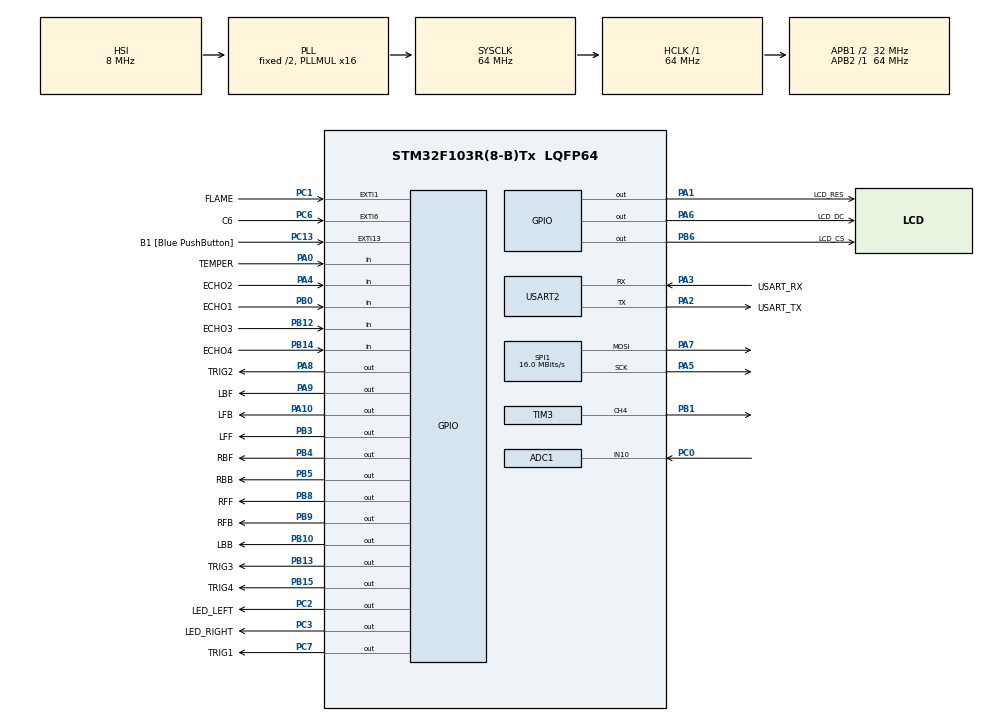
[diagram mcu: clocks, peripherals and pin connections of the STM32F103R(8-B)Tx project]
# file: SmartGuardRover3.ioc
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ADC1.Channel-1\#ChannelRegularConversion=ADC_CHANNEL_10
ADC1.NbrOfConversionFlag=1
ADC1.Rank-1\#ChannelRegularConversion=1
ADC1.SamplingTime-1\#ChannelRegularConversion=ADC_SAMPLETIME_1CYCLE_5
ADC1.master=1
Mcu.Family=STM32F1
Mcu.Name=STM32F103R(8-B)Tx
Mcu.Package=LQFP64
NVIC.EXTI15_10_IRQn=true\:0\:0\:false\:false\:true\:true\:true\:true
NVIC.EXTI9_5_IRQn=true\:0\:0\:false\:false\:true\:true\:true\:true
NVIC.PriorityGroup=NVIC_PRIORITYGROUP_4
NVIC.USART2_IRQn=true\:0\:0\:false\:false\:true\:true\:true\:true
PA0-WKUP.GPIO_Label=TEMPER
PA0-WKUP.Signal=GPIO_Input
PA1.GPIO_Label=LCD_RES
PA1.Signal=GPIO_Output
PA10.GPIO_Label=LFB
PA10.Signal=GPIO_Output
PA13.GPIO_Label=TMS
PA13.Mode=Serial_Wire
PA13.Signal=SYS_JTMS-SWDIO
PA14.GPIO_Label=TCK
PA14.Mode=Serial_Wire
PA14.Signal=SYS_JTCK-SWCLK
PA2.GPIO_Label=USART_TX
PA2.GPIO_Mode=GPIO_MODE_AF_PP
PA2.GPIO_PuPd=GPIO_NOPULL
PA2.GPIO_Speed=GPIO_SPEED_FREQ_LOW
PA2.Mode=Asynchronous
PA2.Signal=USART2_TX
PA3.GPIO_Label=USART_RX
PA3.GPIO_Mode=GPIO_MODE_AF_PP
PA3.GPIO_PuPd=GPIO_NOPULL
PA3.GPIO_Speed=GPIO_SPEED_FREQ_LOW
PA3.Mode=Asynchronous
PA3.Signal=USART2_RX
PA4.GPIO_Label=ECHO2
PA4.Signal=GPIO_Input
PA5.Mode=TX_Only_Simplex_Unidirect_Master
PA5.Signal=SPI1_SCK
PA6.GPIO_Label=LCD_DC
PA6.Signal=GPIO_Output
PA7.Mode=TX_Only_Simplex_Unidirect_Master
PA7.Signal=SPI1_MOSI
PA8.GPIO_Label=TRIG2
PA8.Signal=GPIO_Output
PA9.GPIO_Label=LBF
PA9.Signal=GPIO_Output
PB0.GPIO_Label=ECHO1
PB0.Signal=GPIO_Input
PB1.Signal=S_TIM3_CH4
PB10.GPIO_Label=LBB
PB10.Signal=GPIO_Output
PB12.GPIO_Label=ECHO3
PB12.Signal=GPIO_Input
PB13.GPIO_Label=TRIG3
PB13.Signal=GPIO_Output
PB14.GPIO_Label=ECHO4
PB14.Signal=GPIO_Input
PB15.GPIO_Label=TRIG4
PB15.Signal=GPIO_Output
PB3.GPIO_Label=LFF
PB3.Signal=GPIO_Output
PB4.GPIO_Label=RBF
PB4.Signal=GPIO_Output
PB5.GPIO_Label=RBB
PB5.Signal=GPIO_Output
PB6.GPIO_Label=LCD_CS
PB6.Signal=GPIO_Output
PB8.GPIO_Label=RFF
PB8.Signal=GPIO_Output
PB9.GPIO_Label=RFB
PB9.Signal=GPIO_Output
PC0.Signal=ADCx_IN10
PC1.GPIO_Label=FLAME
PC1.GPIO_ModeDefaultEXTI=GPIO_MODE_IT_FALLING
PC1.GPIO_PuPd=GPIO_PULLUP
PC1.Signal=GPXTI1
PC13-TAMPER-RTC.GPIO_Label=B1 [Blue PushButton]
PC13-TAMPER-RTC.GPIO_PuPd=GPIO_NOPULL
PC13-TAMPER-RTC.Signal=GPXTI13
PC14-OSC32_IN.Signal=RCC_OSC32_IN
PC15-OSC32_OUT.Signal=RCC_OSC32_OUT
PC2.GPIO_Label=LED_LEFT
PC2.Signal=GPIO_Output
PC3.GPIO_Label=LED_RIGHT
PC3.Signal=GPIO_Output
PC6.GPIO_Label=C6
PC6.GPIO_PuPd=GPIO_PULLDOWN
PC6.Signal=GPXTI6
PC7.GPIO_Label=TRIG1
PC7.Signal=GPIO_Output
PD0-OSC_IN.Signal=RCC_OSC_IN
PD1-OSC_OUT.Signal=RCC_OSC_OUT
ProjectManager.HeapSize=0x200
ProjectManager.StackSize=0x400
ProjectManager.TargetToolchain=STM32CubeIDE
RCC.ADCPresc=RCC_ADCPCLK2_DIV6
RCC.AHBFreq_Value=64000000
RCC.APB1CLKDivider=RCC_HCLK_DIV2
RCC.APB1Freq_Value=32000000
RCC.APB1TimFreq_Value=64000000
RCC.APB2Freq_Value=64000000
RCC.APB2TimFreq_Value=64000000
RCC.HCLKFreq_Value=64000000
RCC.PLLMUL=RCC_PLL_MUL16
RCC.RTCClockSelection=RCC_RTCCLKSOURCE_LSE
RCC.SYSCLKFreq_VALUE=64000000
RCC.SYSCLKSource=RCC_SYSCLKSOURCE_PLLCLK
RCC.USBFreq_Value=64000000
SH.ADCx_IN10.0=ADC1_IN10,IN10
SH.S_TIM3_CH4.0=TIM3_CH4,PWM Generation4 CH4
SPI1.BaudRatePrescaler=SPI_BAUDRATEPRESCALER_4
SPI1.CalculateBaudRate=16.0 MBits/s
SPI1.Direction=SPI_DIRECTION_2LINES
SPI1.Mode=SPI_MODE_MASTER
SPI1.VirtualType=VM_MASTER
TIM1.Prescaler=63
TIM2.AutoReloadPreload=TIM_AUTORELOAD_PRELOAD_ENABLE
TIM2.Prescaler=63
TIM3.Channel-PWM\ Generation4\ CH4=TIM_CHANNEL_4
TIM3.Period=999
TIM3.Prescaler=63
TIM3.Pulse-PWM\ Generation4\ CH4=500
USART2.VirtualMode=VM_ASYNC
VP_TIM1_VS_ClockSourceINT.Mode=Internal
VP_TIM2_VS_ClockSourceINT.Mode=Internal
VP_TIM3_VS_ClockSourceINT.Mode=Internal
board=NUCLEO-F103RB

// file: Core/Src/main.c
/* USER CODE BEGIN Header */
/**
  ******************************************************************************
  * @file           : main.c
  * @brief          : Smart Car + LCD + DHT11 (Safe for Code Gen)
  ******************************************************************************
  */
/* USER CODE END Header */
#include "main.h"

/* USER CODE BEGIN Includes */
#include <stdio.h>
#include <stdlib.h>
#include <string.h>
/* USER CODE END Includes */

/* USER CODE BEGIN PTD */
// [온습도 구조체]
typedef struct {
    uint8_t temperature;
    uint8_t humidity;
    uint8_t temp_decimal;
    uint8_t hum_decimal;
    uint8_t checksum;
} DHT11_Data;

// [LCD 매크로]
#define LCD_WIDTH  160
#define LCD_HEIGHT 80
#define X_OFFSET   0
#define Y_OFFSET   26

// Colors (RGB565)
#define BLACK       0x0000
#define WHITE       0xFFFF
#define RED         0xF800
#define GREEN       0x07E0
#define BLUE        0x001F
#define YELLOW      0xFFE0
#define EYE_COLOR   0x07E0
#define EYE_BRIGHT  0xAFE5
#define EYE_DIM     0x0320

// 눈 위치
#define LX          40
#define RX          120
#define CY          40
#define EYE_W       30
#define EYE_H       50
#define EYE_R       10

// ST7735 Commands
#define ST7735_SWRESET 0x01
#define ST7735_SLPOUT  0x11
#define ST7735_NORON   0x13
#define ST7735_INVOFF  0x20
#define ST7735_DISPON  0x29
#define ST7735_CASET   0x2A
#define ST7735_RASET   0x2B
#define ST7735_RAMWR   0x2C
#define ST7735_COLMOD  0x3A
#define ST7735_MADCTL  0x36

typedef enum {
    EXPR_NORMAL, EXPR_HAPPY, EXPR_SAD, EXPR_ANGRY,
    EXPR_SURPRISED, EXPR_SLEEPY, EXPR_Love
} Expression_t;

// GPIO 제어 매크로
#define LCD_CS_LOW()   HAL_GPIO_WritePin(GPIOB, GPIO_PIN_6, GPIO_PIN_RESET)
#define LCD_CS_HIGH()  HAL_GPIO_WritePin(GPIOB, GPIO_PIN_6, GPIO_PIN_SET)
#define LCD_DC_LOW()   HAL_GPIO_WritePin(GPIOA, GPIO_PIN_6, GPIO_PIN_RESET)
#define LCD_DC_HIGH()  HAL_GPIO_WritePin(GPIOA, GPIO_PIN_6, GPIO_PIN_SET)
#define LCD_RES_LOW()  HAL_GPIO_WritePin(GPIOA, GPIO_PIN_1, GPIO_PIN_RESET)
#define LCD_RES_HIGH() HAL_GPIO_WritePin(GPIOA, GPIO_PIN_1, GPIO_PIN_SET)
/* USER CODE END PTD */

/* USER CODE BEGIN PD */
#define DHT11_PORT GPIOA
#define DHT11_PIN GPIO_PIN_0
#define HIGH 1
#define LOW 0
#define AUTO_STOP_DELAY 200
/* USER CODE END PD */

ADC_HandleTypeDef hadc1;

SPI_HandleTypeDef hspi1;

TIM_HandleTypeDef htim1;
TIM_HandleTypeDef htim2;
TIM_HandleTypeDef htim3;

UART_HandleTypeDef huart2;

/* USER CODE BEGIN PV */
DHT11_Data dht11_data;
char uart_buffer[100];

uint8_t rx_data;
long unsigned int echo_time1, echo_time2, echo_time3, echo_time4;
int dist1, dist2, dist3, dist4;
volatile uint32_t last_cmd_time = 0;

volatile uint8_t is_avoiding = 0;
volatile uint8_t is_emergency = 0;
volatile uint8_t is_fire = 0;
volatile uint8_t current_plan = 0;

Expression_t current_expr = EXPR_NORMAL;
uint16_t current_bg_color = BLUE;
/* USER CODE END PV */

void SystemClock_Config(void);
static void MX_GPIO_Init(void);
static void MX_USART2_UART_Init(void);
static void MX_TIM2_Init(void);
static void MX_ADC1_Init(void);
static void MX_TIM3_Init(void);
static void MX_SPI1_Init(void);
static void MX_TIM1_Init(void);
/* USER CODE BEGIN PFP */
// [DHT11 Functions]
void DHT11_SetPinOutput(void);
void DHT11_SetPinInput(void);
void DHT11_SetPin(GPIO_PinState state);
GPIO_PinState DHT11_ReadPin(void);
void DHT11_DelayUs(uint32_t us);
uint8_t DHT11_Start(void);
uint8_t DHT11_ReadByte(void);
uint8_t DHT11_ReadData(DHT11_Data *data);

// [Smart Car Functions]
void Avoid_Obstacle_Routine(void);
void trig1(void); long unsigned int echo1(void);
void trig2(void); long unsigned int echo2(void);
void trig3(void); long unsigned int echo3(void);
void trig4(void); long unsigned int echo4(void);
void delay_us(uint16_t us);
int LFRB(); int RFLB(); void ST(); void MB();
void Check_Light(void);
void Check_Tilt_State(void);
void Check_Fire_State(void);

// [LCD Functions]
void LCD_Init(void);
void LCD_Clear(uint16_t color);
void Draw_Expression(Expression_t expr, uint16_t bg_color);
void Update_Face_Logic(void);
/* USER CODE END PFP */

/* USER CODE BEGIN 0 */
#ifdef __GNUC__
#define PUTCHAR_PROTOTYPE int __io_putchar(int ch)
#else
#define PUTCHAR_PROTOTYPE int fputc(int ch, FILE *f)
#endif

PUTCHAR_PROTOTYPE {
    HAL_UART_Transmit(&huart2, (uint8_t*)&ch, 1, 10);
    return ch;
}
// ============================================================================
// [DHT11 온습도 센서 함수 구현]
// ============================================================================
void DHT11_SetPinOutput(void) {
    GPIO_InitTypeDef GPIO_InitStruct = {0};
    GPIO_InitStruct.Pin = DHT11_PIN;
    GPIO_InitStruct.Mode = GPIO_MODE_OUTPUT_PP;
    GPIO_InitStruct.Pull = GPIO_NOPULL;
    GPIO_InitStruct.Speed = GPIO_SPEED_FREQ_HIGH;
    HAL_GPIO_Init(DHT11_PORT, &GPIO_InitStruct);
}

void DHT11_SetPinInput(void) {
    GPIO_InitTypeDef GPIO_InitStruct = {0};
    GPIO_InitStruct.Pin = DHT11_PIN;
    GPIO_InitStruct.Mode = GPIO_MODE_INPUT;
    GPIO_InitStruct.Pull = GPIO_PULLUP;
    HAL_GPIO_Init(DHT11_PORT, &GPIO_InitStruct);
}

void DHT11_SetPin(GPIO_PinState state) {
    HAL_GPIO_WritePin(DHT11_PORT, DHT11_PIN, state);
}

GPIO_PinState DHT11_ReadPin(void) {
    return HAL_GPIO_ReadPin(DHT11_PORT, DHT11_PIN);
}

void DHT11_DelayUs(uint32_t us) {
    __HAL_TIM_SET_COUNTER(&htim1, 0);
    while (__HAL_TIM_GET_COUNTER(&htim1) < us);
}

uint8_t DHT11_Start(void) {
    uint8_t response = 0;
    DHT11_SetPinOutput();
    DHT11_SetPin(GPIO_PIN_RESET); HAL_Delay(20);
    DHT11_SetPin(GPIO_PIN_SET); DHT11_DelayUs(30);
    DHT11_SetPinInput();
    DHT11_DelayUs(40);
    if (!(DHT11_ReadPin())) {
        DHT11_DelayUs(80);
        if (DHT11_ReadPin()) response = 1; else response = 0;
    }
    while (DHT11_ReadPin());
    return response;
}

uint8_t DHT11_ReadByte(void) {
    uint8_t byte = 0;
    for (int i = 0; i < 8; i++) {
        while (!(DHT11_ReadPin()));
        DHT11_DelayUs(30);
        if (DHT11_ReadPin()) { byte |= (1 << (7 - i)); while (DHT11_ReadPin()); }
    }
    return byte;
}

uint8_t DHT11_ReadData(DHT11_Data *data) {
    if (!DHT11_Start()) return 0;
    data->humidity = DHT11_ReadByte();
    data->hum_decimal = DHT11_ReadByte();
    data->temperature = DHT11_ReadByte();
    data->temp_decimal = DHT11_ReadByte();
    data->checksum = DHT11_ReadByte();
    if ((data->humidity + data->hum_decimal + data->temperature + data->temp_decimal) == data->checksum) return 1;
    return 0;
}

// ============================================================================
// [LCD 그래픽 함수 구현]
// ============================================================================
static void LCD_Cmd(uint8_t cmd) {
    LCD_DC_LOW(); LCD_CS_LOW(); HAL_SPI_Transmit(&hspi1, &cmd, 1, 10); LCD_CS_HIGH();
}
static void LCD_Data(uint8_t data) {
    LCD_DC_HIGH(); LCD_CS_LOW(); HAL_SPI_Transmit(&hspi1, &data, 1, 10); LCD_CS_HIGH();
}
static void LCD_SetWindow(uint16_t x0, uint16_t y0, uint16_t x1, uint16_t y1) {
    LCD_Cmd(ST7735_CASET); LCD_Data(0); LCD_Data(x0 + X_OFFSET); LCD_Data(0); LCD_Data(x1 + X_OFFSET);
    LCD_Cmd(ST7735_RASET); LCD_Data(0); LCD_Data(y0 + Y_OFFSET); LCD_Data(0); LCD_Data(y1 + Y_OFFSET);
    LCD_Cmd(ST7735_RAMWR);
}
static void LCD_WriteColorFast(uint16_t color, uint32_t count) {
    uint8_t hi = color >> 8; uint8_t lo = color & 0xFF;
    LCD_DC_HIGH(); LCD_CS_LOW();
    while(count--) { HAL_SPI_Transmit(&hspi1, &hi, 1, 10); HAL_SPI_Transmit(&hspi1, &lo, 1, 10); }
    LCD_CS_HIGH();
}
static void LCD_FillRect(int16_t x, int16_t y, int16_t w, int16_t h, uint16_t color) {
    if(x >= LCD_WIDTH || y >= LCD_HEIGHT || w <= 0 || h <= 0) return;
    if(x + w > LCD_WIDTH) w = LCD_WIDTH - x;
    if(y + h > LCD_HEIGHT) h = LCD_HEIGHT - y;
    LCD_SetWindow(x, y, x + w - 1, y + h - 1);
    LCD_WriteColorFast(color, (uint32_t)w * h);
}
void LCD_Clear(uint16_t color) { LCD_FillRect(0, 0, LCD_WIDTH, LCD_HEIGHT, color); }

static void LCD_HLine(int16_t x, int16_t y, int16_t w, uint16_t color) { LCD_FillRect(x, y, w, 1, color); }
static void LCD_FillCircle(int16_t x0, int16_t y0, int16_t r, uint16_t color) {
    int16_t x = r, y = 0, err = 1 - r;
    while(x >= y) {
        LCD_HLine(x0 - x, y0 + y, x * 2 + 1, color); LCD_HLine(x0 - x, y0 - y, x * 2 + 1, color);
        LCD_HLine(x0 - y, y0 + x, y * 2 + 1, color); LCD_HLine(x0 - y, y0 - x, y * 2 + 1, color);
        y++; if(err < 0) err += 2 * y + 1; else { x--; err += 2 * (y - x + 1); }
    }
}
static void LCD_RoundRect(int16_t x, int16_t y, int16_t w, int16_t h, int16_t r, uint16_t color) {
    LCD_FillRect(x+r, y, w-2*r, h, color); LCD_FillRect(x, y+r, r, h-2*r, color);
    LCD_FillRect(x+w-r, y+r, r, h-2*r, color);
    LCD_FillCircle(x+r, y+r, r, color); LCD_FillCircle(x+w-r-1, y+r, r, color);
    LCD_FillCircle(x+r, y+h-r-1, r, color); LCD_FillCircle(x+w-r-1, y+h-r-1, r, color);
}
static void LCD_ThickLine(int16_t x0, int16_t y0, int16_t x1, int16_t y1, int16_t t, uint16_t color) {
    int16_t dx = abs(x1-x0), dy = abs(y1-y0), sx = (x0<x1)?1:-1, sy = (y0<y1)?1:-1, err = dx-dy;
    while(1) {
        LCD_FillRect(x0-t/2, y0-t/2, t, t, color);
        if(x0==x1 && y0==y1) break;
        int16_t e2=2*err; if(e2 > -dy){err-=dy; x0+=sx;} if(e2 < dx){err+=dx; y0+=sy;}
    }
}

// [눈 그리기]
static void Eye_Normal(int16_t cx, int16_t ox, int16_t oy) {
    LCD_RoundRect(cx - EYE_W/2, CY - EYE_H/2, EYE_W, EYE_H, EYE_R, EYE_COLOR);
    LCD_FillCircle(cx - 5 + ox, CY - 8 + oy, 4, EYE_BRIGHT);
}
static void Eye_Happy(int16_t cx) {
    for(int16_t i = -EYE_W/2 + 2; i <= EYE_W/2 - 2; i++) {
        int32_t n = (int32_t)i * i * 100 / ((EYE_W/2) * (EYE_W/2));
        int16_t y = CY + 5 - (12 * (100 - n) / 100);
        LCD_FillRect(cx + i, y - 3, 2, 5, EYE_COLOR);
    }
}
// 악마 눈 (수정본)
static void Eye_Angry(int16_t cx, uint8_t is_left) {
    LCD_RoundRect(cx - EYE_W/2, CY - EYE_H/2 + 10, EYE_W, EYE_H - 14, EYE_R - 3, EYE_COLOR);
    int16_t horn_base_inx = 5; int16_t horn_base_iny = 8;
    int16_t horn_tip_outx = 12; int16_t horn_tip_outy = 12;
    uint16_t horn_color = BLACK;

    if(is_left) {
        LCD_ThickLine(cx - EYE_W/2 + horn_base_inx, CY - EYE_H/2 + horn_base_iny, cx - EYE_W/2 - horn_tip_outx, CY - EYE_H/2 - horn_tip_outy, 6, horn_color);
        LCD_ThickLine(cx - EYE_W/2 - horn_tip_outx + 3, CY - EYE_H/2 - horn_tip_outy + 3, cx - EYE_W/2 - horn_tip_outx, CY - EYE_H/2 - horn_tip_outy, 2, horn_color);
        LCD_FillCircle(cx + 4, CY + 3, 4, BLACK);
    } else {
        LCD_ThickLine(cx + EYE_W/2 - horn_base_inx, CY - EYE_H/2 + horn_base_iny, cx + EYE_W/2 + horn_tip_outx, CY - EYE_H/2 - horn_tip_outy, 6, horn_color);
        LCD_ThickLine(cx + EYE_W/2 + horn_tip_outx - 3, CY - EYE_H/2 - horn_tip_outy + 3, cx + EYE_W/2 + horn_tip_outx, CY - EYE_H/2 - horn_tip_outy, 2, horn_color);
        LCD_FillCircle(cx - 4, CY + 3, 4, BLACK);
    }
    if(is_left) LCD_ThickLine(cx - EYE_W/2 - 2, CY - EYE_H/2 + 12, cx + EYE_W/2 + 2, CY - EYE_H/2 + 2, 4, EYE_COLOR);
    else LCD_ThickLine(cx - EYE_W/2 - 2, CY - EYE_H/2 + 2, cx + EYE_W/2 + 2, CY - EYE_H/2 + 12, 4, EYE_COLOR);
}

void Draw_Expression(Expression_t expr, uint16_t bg_color) {
    LCD_Clear(bg_color);
    switch(expr) {
        case EXPR_NORMAL: Eye_Normal(LX,0,0); Eye_Normal(RX,0,0); break;
        case EXPR_HAPPY:  Eye_Happy(LX); Eye_Happy(RX); break;
        case EXPR_ANGRY:  Eye_Angry(LX,1); Eye_Angry(RX,0); break;
        default: Eye_Normal(LX,0,0); Eye_Normal(RX,0,0); break;
    }
}

void LCD_Init(void) {
    LCD_RES_LOW(); HAL_Delay(50); LCD_RES_HIGH(); HAL_Delay(50);
    LCD_Cmd(ST7735_SWRESET); HAL_Delay(150);
    LCD_Cmd(ST7735_SLPOUT); HAL_Delay(150);
    LCD_Cmd(0xB1); LCD_Data(0x01); LCD_Data(0x2C); LCD_Data(0x2D);
    LCD_Cmd(0xB4); LCD_Data(0x07);
    LCD_Cmd(0xC0); LCD_Data(0xA2); LCD_Data(0x02); LCD_Data(0x84);
    LCD_Cmd(ST7735_MADCTL); LCD_Data(0x60);
    LCD_Cmd(ST7735_COLMOD); LCD_Data(0x05);
    LCD_Cmd(ST7735_NORON); HAL_Delay(10);
    LCD_Cmd(ST7735_DISPON); HAL_Delay(100);
}

void Update_Face_Logic(void) {
    Expression_t target_expr = EXPR_HAPPY;
    uint16_t target_bg = BLUE;

    if (is_emergency == 1 || is_fire == 1) {
        target_expr = EXPR_ANGRY;
        target_bg = RED;
    } else {
        target_expr = EXPR_HAPPY;
        target_bg = BLUE;
    }

    if (target_expr != current_expr || target_bg != current_bg_color) {
        current_expr = target_expr;
        current_bg_color = target_bg;
        Draw_Expression(current_expr, current_bg_color);
    }
}

// ============================================================================
// [스마트카 모터 및 센서 로직]
// ============================================================================
int LF(int dir){ switch(dir){ case 1: HAL_GPIO_WritePin(LFF_GPIO_Port, LFF_Pin, 1); HAL_GPIO_WritePin(LFB_GPIO_Port, LFB_Pin, 0); break; case 0: HAL_GPIO_WritePin(LFF_GPIO_Port, LFF_Pin, 0); HAL_GPIO_WritePin(LFB_GPIO_Port, LFB_Pin, 1); break; case 2: HAL_GPIO_WritePin(LFF_GPIO_Port, LFF_Pin, 0); HAL_GPIO_WritePin(LFB_GPIO_Port, LFB_Pin, 0); break; } return 0; }
int LB(int dir){ switch(dir){ case 1: HAL_GPIO_WritePin(LBF_GPIO_Port, LBF_Pin, 1); HAL_GPIO_WritePin(LBB_GPIO_Port, LBB_Pin, 0); break; case 0: HAL_GPIO_WritePin(LBF_GPIO_Port, LBF_Pin, 0); HAL_GPIO_WritePin(LBB_GPIO_Port, LBB_Pin, 1); break; case 2: HAL_GPIO_WritePin(LBF_GPIO_Port, LBF_Pin, 0); HAL_GPIO_WritePin(LBB_GPIO_Port, LBB_Pin, 0); break; } return 0; }
int RF(int dir){ switch(dir){ case 1: HAL_GPIO_WritePin(RFF_GPIO_Port, RFF_Pin, 1); HAL_GPIO_WritePin(RFB_GPIO_Port, RFB_Pin, 0); break; case 0: HAL_GPIO_WritePin(RFF_GPIO_Port, RFF_Pin, 0); HAL_GPIO_WritePin(RFB_GPIO_Port, RFB_Pin, 1); break; case 2: HAL_GPIO_WritePin(RFF_GPIO_Port, RFF_Pin, 0); HAL_GPIO_WritePin(RFB_GPIO_Port, RFB_Pin, 0); break; } return 0; }
int RB(int dir){ switch(dir){ case 1: HAL_GPIO_WritePin(RBF_GPIO_Port, RBF_Pin, 1); HAL_GPIO_WritePin(RBB_GPIO_Port, RBB_Pin, 0); break; case 0: HAL_GPIO_WritePin(RBF_GPIO_Port, RBF_Pin, 0); HAL_GPIO_WritePin(RBB_GPIO_Port, RBB_Pin, 1); break; case 2: HAL_GPIO_WritePin(RBF_GPIO_Port, RBF_Pin, 0); HAL_GPIO_WritePin(RBB_GPIO_Port, RBB_Pin, 0); break; } return 0; }
void MF() { HAL_GPIO_WritePin(LFF_GPIO_Port, LFF_Pin, 1); HAL_GPIO_WritePin(LFB_GPIO_Port, LFB_Pin, 0); HAL_GPIO_WritePin(RFF_GPIO_Port, RFF_Pin, 1); HAL_GPIO_WritePin(RFB_GPIO_Port, RFB_Pin, 0); HAL_GPIO_WritePin(LBF_GPIO_Port, LBF_Pin, 1); HAL_GPIO_WritePin(LBB_GPIO_Port, LBB_Pin, 0); HAL_GPIO_WritePin(RBF_GPIO_Port, RBF_Pin, 1); HAL_GPIO_WritePin(RBB_GPIO_Port, RBB_Pin, 0); }
void MB() { HAL_GPIO_WritePin(LFF_GPIO_Port, LFF_Pin, 0); HAL_GPIO_WritePin(LFB_GPIO_Port, LFB_Pin, 1); HAL_GPIO_WritePin(RFF_GPIO_Port, RFF_Pin, 0); HAL_GPIO_WritePin(RFB_GPIO_Port, RFB_Pin, 1); HAL_GPIO_WritePin(LBF_GPIO_Port, LBF_Pin, 0); HAL_GPIO_WritePin(LBB_GPIO_Port, LBB_Pin, 1); HAL_GPIO_WritePin(RBF_GPIO_Port, RBF_Pin, 0); HAL_GPIO_WritePin(RBB_GPIO_Port, RBB_Pin, 1); }
void ML() { HAL_GPIO_WritePin(LFF_GPIO_Port, LFF_Pin, 0); HAL_GPIO_WritePin(LFB_GPIO_Port, LFB_Pin, 0); HAL_GPIO_WritePin(RFF_GPIO_Port, RFF_Pin, 1); HAL_GPIO_WritePin(RFB_GPIO_Port, RFB_Pin, 0); HAL_GPIO_WritePin(LBF_GPIO_Port, LBF_Pin, 0); HAL_GPIO_WritePin(LBB_GPIO_Port, LBB_Pin, 0); HAL_GPIO_WritePin(RBF_GPIO_Port, RBF_Pin, 1); HAL_GPIO_WritePin(RBB_GPIO_Port, RBB_Pin, 0); }
void MR() { HAL_GPIO_WritePin(LFF_GPIO_Port, LFF_Pin, 1); HAL_GPIO_WritePin(LFB_GPIO_Port, LFB_Pin, 0); HAL_GPIO_WritePin(RFF_GPIO_Port, RFF_Pin, 0); HAL_GPIO_WritePin(RFB_GPIO_Port, RFB_Pin, 0); HAL_GPIO_WritePin(LBF_GPIO_Port, LBF_Pin, 1); HAL_GPIO_WritePin(LBB_GPIO_Port, LBB_Pin, 0); HAL_GPIO_WritePin(RBF_GPIO_Port, RBF_Pin, 0); HAL_GPIO_WritePin(RBB_GPIO_Port, RBB_Pin, 0); }
void ST() { HAL_GPIO_WritePin(LFF_GPIO_Port, LFF_Pin, 0); HAL_GPIO_WritePin(LFB_GPIO_Port, LFB_Pin, 0); HAL_GPIO_WritePin(RFF_GPIO_Port, RFF_Pin, 0); HAL_GPIO_WritePin(RFB_GPIO_Port, RFB_Pin, 0); HAL_GPIO_WritePin(LBF_GPIO_Port, LBF_Pin, 0); HAL_GPIO_WritePin(LBB_GPIO_Port, LBB_Pin, 0); HAL_GPIO_WritePin(RBF_GPIO_Port, RBF_Pin, 0); HAL_GPIO_WritePin(RBB_GPIO_Port, RBB_Pin, 0); }
int TLF(){ RF(1); RB(1); LF(2); LB(2); return 0; } int TRF(){ RF(2); RB(2); LF(1); LB(1); return 0; }
int TLB(){ RF(0); RB(0); LF(2); LB(2); return 0; } int TRB(){ RF(2); RB(2); LF(0); LB(0); return 0; }
int LFRB(){ RF(0); RB(0); LF(1); LB(1); return 0; } int RFLB(){ RF(1); RB(1); LF(0); LB(0); return 0; }

void HAL_UART_RxCpltCallback(UART_HandleTypeDef *huart) {
    if (huart->Instance == USART2) {
        HAL_UART_Transmit(&huart2, &rx_data, 1, 10);
        if (is_avoiding == 0 && is_emergency == 0 && is_fire == 0) {
            last_cmd_time = HAL_GetTick();
            switch (rx_data) {
                case 'W': case 'w': MF(); break; case 'A': case 'a': ML(); break;
                case 'D': case 'd': MR(); break; case 'S': case 's': MB(); break;
                case 'Q': case 'q': TLF(); break; case 'E': case 'e': TRF(); break;
                case 'Z': case 'z': TLB(); break; case 'C': case 'c': TRB(); break;
                case 'R': case 'r': LFRB(); break; case 'T': case 't': RFLB(); break;
                default: ST(); break;
            }
        }
        HAL_UART_Receive_IT(&huart2, &rx_data, 1);
    }
}

void Check_Tilt_State(void) {
    static uint32_t tilt_start_time = 0;
    if (HAL_GPIO_ReadPin(C6_GPIO_Port, C6_Pin) == GPIO_PIN_SET) {
        if (tilt_start_time == 0) tilt_start_time = HAL_GetTick();
        if (HAL_GetTick() - tilt_start_time > 2000) {
            ST(); is_emergency = 1;
            HAL_GPIO_WritePin(LED_LEFT_GPIO_Port, LED_LEFT_Pin, 1);
            HAL_GPIO_WritePin(LED_RIGHT_GPIO_Port, LED_RIGHT_Pin, 1);
            __HAL_TIM_SET_COMPARE(&htim3, TIM_CHANNEL_4, 500);
            printf("⚠️Car Fliped!!\r\n");
            tilt_start_time = 0;
        }
    } else { tilt_start_time = 0; }
}

void Check_Fire_State(void) {
    if (HAL_GPIO_ReadPin(FLAME_GPIO_Port, FLAME_Pin) == GPIO_PIN_SET) {
        if (is_fire == 0) {
            ST(); is_fire = 1;
            __HAL_TIM_SET_COMPARE(&htim3, TIM_CHANNEL_4, 500);
            HAL_GPIO_WritePin(LED_LEFT_GPIO_Port, LED_LEFT_Pin, 1);
            HAL_GPIO_WritePin(LED_RIGHT_GPIO_Port, LED_RIGHT_Pin, 1);
            printf("🔥 FIRE!\r\n");
        }
    }
}

void Avoid_Obstacle_Routine(void)
{
    is_avoiding = 1;
    ST();
    HAL_Delay(500);

    uint32_t last_avoid_light_check = 0;

    // 측면 거리 측정
    trig3(); echo_time3 = echo3(); dist3 = (echo_time3 > 0 && echo_time3 < 23000) ? (int)(17 * echo_time3 / 100) : 999; delay_us(15000);
    trig4(); echo_time4 = echo4(); dist4 = (echo_time4 > 0 && echo_time4 < 23000) ? (int)(17 * echo_time4 / 100) : 999;

    // [상태 설정] 0:정상, 1:우회전, 2:좌회전, 3:후진좌회전, 4:후진
    if (dist3 <= 150 && dist4 > 150) current_plan = 1;      // 왼쪽 막힘
    else if (dist4 <= 150 && dist3 > 150) current_plan = 2; // 오른쪽 막힘
    else if (dist3 > 150 && dist4 > 150) current_plan = 3;  // 전방만 막힘
    else current_plan = 4;                                  // 꽉 막힘 (Plan 4)

    printf("⚠️ Avoid:%d D3:%d D4:%d\r\n", current_plan,dist3,dist4);

    while (1)
    {
        Check_Tilt_State(); Check_Fire_State(); Update_Face_Logic();

        if (is_emergency == 1 || is_fire == 1) {
            ST();
            is_avoiding = 0;
            current_plan = 0; // 비상 정지도 Plan 0(혹은 별도 처리)으로 복귀
            break;
        }

        if (HAL_GetTick() - last_avoid_light_check > 500) { Check_Light(); last_avoid_light_check = HAL_GetTick(); }

        trig1(); echo_time1 = echo1(); dist1 = (echo_time1 > 0 && echo_time1 < 23000) ? (int)(17 * echo_time1 / 100) : 999; delay_us(2000);
        trig2(); echo_time2 = echo2(); dist2 = (echo_time2 > 0 && echo_time2 < 23000) ? (int)(17 * echo_time2 / 100) : 999;

        // [탈출 조건]
        if (dist1 > 350 && dist2 > 350) {
            ST();
            is_avoiding = 0;
            last_cmd_time = HAL_GetTick();
            dist3 = 0;
            dist4 = 0;

            // ★ 정상 상태(0)로 복귀 ★
            current_plan = 0;
            printf("Avoid Recovery\r\n");
            break;
        }

        // 전역 변수 current_plan에 따라 동작
        switch (current_plan) {
            case 1: LFRB(); break;
            case 2: RFLB(); break;
            case 3: MB(); HAL_Delay(500); current_plan = 2; break; // 3번 후엔 2번으로
            case 4: MB(); break; // 4번은 계속 후진
        }
        HAL_Delay(100);
    }
}

void timer_start(void) { HAL_TIM_Base_Start(&htim2); }
void delay_us(uint16_t us) { __HAL_TIM_SET_COUNTER(&htim2, 0); while((__HAL_TIM_GET_COUNTER(&htim2)) < us); }
void trig1(void) { HAL_GPIO_WritePin(TRIG1_GPIO_Port, TRIG1_Pin, HIGH); delay_us(10); HAL_GPIO_WritePin(TRIG1_GPIO_Port, TRIG1_Pin, LOW); }
long unsigned int echo1(void) { long unsigned int echo = 0; int timeout = 0; while(HAL_GPIO_ReadPin(ECHO1_GPIO_Port, ECHO1_Pin) == LOW) { timeout++; if(timeout > 5000) return 0; } __HAL_TIM_SET_COUNTER(&htim2, 0); timeout = 0; while(HAL_GPIO_ReadPin(ECHO1_GPIO_Port, ECHO1_Pin) == HIGH) { timeout++; if(timeout > 20000) return 0; } echo = __HAL_TIM_GET_COUNTER(&htim2); return echo; }
void trig2(void) { HAL_GPIO_WritePin(TRIG2_GPIO_Port, TRIG2_Pin, HIGH); delay_us(10); HAL_GPIO_WritePin(TRIG2_GPIO_Port, TRIG2_Pin, LOW); }
long unsigned int echo2(void) { long unsigned int echo = 0; int timeout = 0; while(HAL_GPIO_ReadPin(ECHO2_GPIO_Port, ECHO2_Pin) == LOW) { timeout++; if(timeout > 5000) return 0; } __HAL_TIM_SET_COUNTER(&htim2, 0); timeout = 0; while(HAL_GPIO_ReadPin(ECHO2_GPIO_Port, ECHO2_Pin) == HIGH) { timeout++; if(timeout > 20000) return 0; } echo = __HAL_TIM_GET_COUNTER(&htim2); return echo; }
void trig3(void) { HAL_GPIO_WritePin(TRIG3_GPIO_Port, TRIG3_Pin, HIGH); delay_us(10); HAL_GPIO_WritePin(TRIG3_GPIO_Port, TRIG3_Pin, LOW); }
long unsigned int echo3(void) { long unsigned int echo = 0; int timeout = 0; while(HAL_GPIO_ReadPin(ECHO3_GPIO_Port, ECHO3_Pin) == LOW) { timeout++; if(timeout > 5000) return 0; } __HAL_TIM_SET_COUNTER(&htim2, 0); timeout = 0; while(HAL_GPIO_ReadPin(ECHO3_GPIO_Port, ECHO3_Pin) == HIGH) { timeout++; if(timeout > 40000) return 0; } echo = __HAL_TIM_GET_COUNTER(&htim2); return echo; }
void trig4(void) { HAL_GPIO_WritePin(TRIG4_GPIO_Port, TRIG4_Pin, HIGH); delay_us(10); HAL_GPIO_WritePin(TRIG4_GPIO_Port, TRIG4_Pin, LOW); }
long unsigned int echo4(void) { long unsigned int echo = 0; int timeout = 0; while(HAL_GPIO_ReadPin(ECHO4_GPIO_Port, ECHO4_Pin) == LOW) { timeout++; if(timeout > 5000) return 0; } __HAL_TIM_SET_COUNTER(&htim2, 0); timeout = 0; while(HAL_GPIO_ReadPin(ECHO4_GPIO_Port, ECHO4_Pin) == HIGH) { timeout++; if(timeout > 40000) return 0; } echo = __HAL_TIM_GET_COUNTER(&htim2); return echo; }

void Check_Light(void)
{
    uint32_t adc_value = 0; float voltage = 0.0f;
    HAL_ADC_Start(&hadc1);
    if (HAL_ADC_PollForConversion(&hadc1, 100) == HAL_OK) {
        adc_value = HAL_ADC_GetValue(&hadc1); voltage = (adc_value * 3.3f) / 4095.0f;
        if (voltage < 2.0f && is_fire == 0) { HAL_GPIO_WritePin(LED_LEFT_GPIO_Port, LED_LEFT_Pin, 1); HAL_GPIO_WritePin(LED_RIGHT_GPIO_Port, LED_RIGHT_Pin, 1); printf("Dark\r\n"); }
        else if (is_fire == 0) { HAL_GPIO_WritePin(LED_LEFT_GPIO_Port, LED_LEFT_Pin, 0); HAL_GPIO_WritePin(LED_RIGHT_GPIO_Port, LED_RIGHT_Pin, 0); printf("Bright\r\n"); }
    }
    HAL_ADC_Stop(&hadc1);
}
void HAL_GPIO_EXTI_Callback(uint16_t GPIO_Pin) { }
/* USER CODE END 0 */

int main(void)
{

  /* MCU Configuration--------------------------------------------------------*/

  /* Reset of all peripherals, Initializes the Flash interface and the Systick. */
  HAL_Init();

  /* Configure the system clock */
  SystemClock_Config();

  /* Initialize all configured peripherals */
  MX_GPIO_Init();
  MX_USART2_UART_Init();
  MX_TIM2_Init();
  MX_ADC1_Init();
  MX_TIM3_Init();
  MX_SPI1_Init();
  MX_TIM1_Init();
  /* USER CODE BEGIN 2 */
  // [초음파용 타이머 시작]
  HAL_TIM_Base_Start(&htim2);

  // [DHT11용 타이머 시작]
  HAL_TIM_Base_Start(&htim1);

  // [LCD 초기화]
  LCD_Init();
  LCD_Clear(BLUE);
  Draw_Expression(EXPR_HAPPY, BLUE);

  // [부저 초기화]
  __HAL_TIM_SET_COMPARE(&htim3, TIM_CHANNEL_4, 0);
  HAL_TIM_PWM_Start(&htim3, TIM_CHANNEL_4);
  HAL_Delay(500);

  is_fire = 0; is_emergency = 0;

  // [UART 수신 인터럽트 시작]
  HAL_UART_Receive_IT(&huart2, &rx_data, 1);
  printf("\n=== SmartGuardRover With Face LCD ===\n");
  last_cmd_time = HAL_GetTick();
  /* USER CODE END 2 */

  /* Infinite loop */
  /* USER CODE BEGIN WHILE */
  uint32_t last_print_time = 0;
  uint32_t last_light_check_time = 0;
  static uint32_t last_dht_time = 0;

  while (1)
  {
      Check_Tilt_State();
      Check_Fire_State();
      Update_Face_Logic();

      // [전복 처리]
      if (is_emergency == 1)
      {
          ST();
          // 복구 확인
          if (HAL_GPIO_ReadPin(C6_GPIO_Port, C6_Pin) == GPIO_PIN_RESET) {
              int clear_cnt = 0;
              for(int i=0; i<20; i++) {
                  HAL_Delay(100);
                  if(HAL_GPIO_ReadPin(C6_GPIO_Port, C6_Pin) == GPIO_PIN_SET) { clear_cnt = 0; break; }
                  clear_cnt++;
              }
              if(clear_cnt >= 20) {
                  is_emergency = 0; is_avoiding = 0;
                  last_cmd_time = HAL_GetTick();
                  __HAL_TIM_SET_COMPARE(&htim3, TIM_CHANNEL_4, 0);
                  HAL_GPIO_WritePin(LED_LEFT_GPIO_Port, LED_LEFT_Pin, 0);
                  HAL_GPIO_WritePin(LED_RIGHT_GPIO_Port, LED_RIGHT_Pin, 0);
                  printf("Car Recovered!\r\n");
                  continue;
              }
          }
          continue;
      }

      // [화재 처리]
      if (is_fire == 1)
      {
          ST();
          // 복구 확인
          if (HAL_GPIO_ReadPin(FLAME_GPIO_Port, FLAME_Pin) == GPIO_PIN_RESET) {
              int clear_cnt = 0;
              for(int i=0; i<20; i++) {
                  HAL_Delay(100);
                  if(HAL_GPIO_ReadPin(FLAME_GPIO_Port, FLAME_Pin) == GPIO_PIN_SET) { clear_cnt = 0; break; }
                  clear_cnt++;
              }
              if(clear_cnt >= 20) {
                  is_fire = 0;
                  __HAL_TIM_SET_COMPARE(&htim3, TIM_CHANNEL_4, 0);
                  HAL_GPIO_WritePin(LED_LEFT_GPIO_Port, LED_LEFT_Pin, 0);
                  HAL_GPIO_WritePin(LED_RIGHT_GPIO_Port, LED_RIGHT_Pin, 0);
                  is_avoiding = 0; last_cmd_time = HAL_GetTick();
                  printf("FIRE OFF!\r\n");
                  continue;
              }
          }
          continue;
      }

      if (HAL_GetTick() - last_light_check_time > 2000) { Check_Light(); last_light_check_time = HAL_GetTick(); }
      if (is_avoiding == 1) continue;
      if (HAL_GetTick() - last_cmd_time > AUTO_STOP_DELAY) ST();

      trig1(); echo_time1 = echo1(); dist1 = (echo_time1 > 0 && echo_time1 < 23000) ? (int)(17 * echo_time1 / 100) : 999; delay_us(5000);
      trig2(); echo_time2 = echo2(); dist2 = (echo_time2 > 0 && echo_time2 < 23000) ? (int)(17 * echo_time2 / 100) : 999;

      if ((dist1 < 150 && dist1 > 0) || (dist2 < 150 && dist2 > 0)) Avoid_Obstacle_Routine();
      if (HAL_GetTick() - last_print_time > 200) { printf("Avoid:%d D: %d, %d\r\n",current_plan, dist1, dist2); last_print_time = HAL_GetTick(); }

      // [온습도 측정 - 2초 간격]
      if(HAL_GetTick() - last_dht_time >= 2000)
      {
          if(DHT11_ReadData(&dht11_data)) {
              printf("Temp: %d°C, Hum: %d%%\r\n", dht11_data.temperature, dht11_data.humidity);
          }
          last_dht_time = HAL_GetTick();
      }

    /* USER CODE END WHILE */

  }
}

void SystemClock_Config(void)
{
  RCC_OscInitTypeDef RCC_OscInitStruct = {0};
  RCC_ClkInitTypeDef RCC_ClkInitStruct = {0};
  RCC_PeriphCLKInitTypeDef PeriphClkInit = {0};

  /** Initializes the RCC Oscillators according to the specified parameters
  * in the RCC_OscInitTypeDef structure.
  */
  RCC_OscInitStruct.OscillatorType = RCC_OSCILLATORTYPE_HSI;
  RCC_OscInitStruct.HSIState = RCC_HSI_ON;
  RCC_OscInitStruct.HSICalibrationValue = RCC_HSICALIBRATION_DEFAULT;
  RCC_OscInitStruct.PLL.PLLState = RCC_PLL_ON;
  RCC_OscInitStruct.PLL.PLLSource = RCC_PLLSOURCE_HSI_DIV2;
  RCC_OscInitStruct.PLL.PLLMUL = RCC_PLL_MUL16;
  if (HAL_RCC_OscConfig(&RCC_OscInitStruct) != HAL_OK)
  {
    Error_Handler();
  }

  /** Initializes the CPU, AHB and APB buses clocks
  */
  RCC_ClkInitStruct.ClockType = RCC_CLOCKTYPE_HCLK|RCC_CLOCKTYPE_SYSCLK
                              |RCC_CLOCKTYPE_PCLK1|RCC_CLOCKTYPE_PCLK2;
  RCC_ClkInitStruct.SYSCLKSource = RCC_SYSCLKSOURCE_PLLCLK;
  RCC_ClkInitStruct.AHBCLKDivider = RCC_SYSCLK_DIV1;
  RCC_ClkInitStruct.APB1CLKDivider = RCC_HCLK_DIV2;
  RCC_ClkInitStruct.APB2CLKDivider = RCC_HCLK_DIV1;

  if (HAL_RCC_ClockConfig(&RCC_ClkInitStruct, FLASH_LATENCY_2) != HAL_OK)
  {
    Error_Handler();
  }
  PeriphClkInit.PeriphClockSelection = RCC_PERIPHCLK_ADC;
  PeriphClkInit.AdcClockSelection = RCC_ADCPCLK2_DIV6;
  if (HAL_RCCEx_PeriphCLKConfig(&PeriphClkInit) != HAL_OK)
  {
    Error_Handler();
  }
}

static void MX_ADC1_Init(void)
{

  ADC_ChannelConfTypeDef sConfig = {0};

  /** Common config
  */
  hadc1.Instance = ADC1;
  hadc1.Init.ScanConvMode = ADC_SCAN_DISABLE;
  hadc1.Init.ContinuousConvMode = DISABLE;
  hadc1.Init.DiscontinuousConvMode = DISABLE;
  hadc1.Init.ExternalTrigConv = ADC_SOFTWARE_START;
  hadc1.Init.DataAlign = ADC_DATAALIGN_RIGHT;
  hadc1.Init.NbrOfConversion = 1;
  if (HAL_ADC_Init(&hadc1) != HAL_OK)
  {
    Error_Handler();
  }

  /** Configure Regular Channel
  */
  sConfig.Channel = ADC_CHANNEL_10;
  sConfig.Rank = ADC_REGULAR_RANK_1;
  sConfig.SamplingTime = ADC_SAMPLETIME_1CYCLE_5;
  if (HAL_ADC_ConfigChannel(&hadc1, &sConfig) != HAL_OK)
  {
    Error_Handler();
  }

}

static void MX_SPI1_Init(void)
{

  /* SPI1 parameter configuration*/
  hspi1.Instance = SPI1;
  hspi1.Init.Mode = SPI_MODE_MASTER;
  hspi1.Init.Direction = SPI_DIRECTION_2LINES;
  hspi1.Init.DataSize = SPI_DATASIZE_8BIT;
  hspi1.Init.CLKPolarity = SPI_POLARITY_LOW;
  hspi1.Init.CLKPhase = SPI_PHASE_1EDGE;
  hspi1.Init.NSS = SPI_NSS_SOFT;
  hspi1.Init.BaudRatePrescaler = SPI_BAUDRATEPRESCALER_4;
  hspi1.Init.FirstBit = SPI_FIRSTBIT_MSB;
  hspi1.Init.TIMode = SPI_TIMODE_DISABLE;
  hspi1.Init.CRCCalculation = SPI_CRCCALCULATION_DISABLE;
  hspi1.Init.CRCPolynomial = 10;
  if (HAL_SPI_Init(&hspi1) != HAL_OK)
  {
    Error_Handler();
  }

}

static void MX_TIM1_Init(void)
{

  TIM_ClockConfigTypeDef sClockSourceConfig = {0};
  TIM_MasterConfigTypeDef sMasterConfig = {0};

  htim1.Instance = TIM1;
  htim1.Init.Prescaler = 63;
  htim1.Init.CounterMode = TIM_COUNTERMODE_UP;
  htim1.Init.Period = 65535;
  htim1.Init.ClockDivision = TIM_CLOCKDIVISION_DIV1;
  htim1.Init.RepetitionCounter = 0;
  htim1.Init.AutoReloadPreload = TIM_AUTORELOAD_PRELOAD_DISABLE;
  if (HAL_TIM_Base_Init(&htim1) != HAL_OK)
  {
    Error_Handler();
  }
  sClockSourceConfig.ClockSource = TIM_CLOCKSOURCE_INTERNAL;
  if (HAL_TIM_ConfigClockSource(&htim1, &sClockSourceConfig) != HAL_OK)
  {
    Error_Handler();
  }
  sMasterConfig.MasterOutputTrigger = TIM_TRGO_RESET;
  sMasterConfig.MasterSlaveMode = TIM_MASTERSLAVEMODE_DISABLE;
  if (HAL_TIMEx_MasterConfigSynchronization(&htim1, &sMasterConfig) != HAL_OK)
  {
    Error_Handler();
  }

}

static void MX_TIM2_Init(void)
{

  TIM_ClockConfigTypeDef sClockSourceConfig = {0};
  TIM_MasterConfigTypeDef sMasterConfig = {0};

  htim2.Instance = TIM2;
  htim2.Init.Prescaler = 63;
  htim2.Init.CounterMode = TIM_COUNTERMODE_UP;
  htim2.Init.Period = 65535;
  htim2.Init.ClockDivision = TIM_CLOCKDIVISION_DIV1;
  htim2.Init.AutoReloadPreload = TIM_AUTORELOAD_PRELOAD_ENABLE;
  if (HAL_TIM_Base_Init(&htim2) != HAL_OK)
  {
    Error_Handler();
  }
  sClockSourceConfig.ClockSource = TIM_CLOCKSOURCE_INTERNAL;
  if (HAL_TIM_ConfigClockSource(&htim2, &sClockSourceConfig) != HAL_OK)
  {
    Error_Handler();
  }
  sMasterConfig.MasterOutputTrigger = TIM_TRGO_RESET;
  sMasterConfig.MasterSlaveMode = TIM_MASTERSLAVEMODE_DISABLE;
  if (HAL_TIMEx_MasterConfigSynchronization(&htim2, &sMasterConfig) != HAL_OK)
  {
    Error_Handler();
  }

}

static void MX_TIM3_Init(void)
{

  TIM_ClockConfigTypeDef sClockSourceConfig = {0};
  TIM_MasterConfigTypeDef sMasterConfig = {0};
  TIM_OC_InitTypeDef sConfigOC = {0};

  htim3.Instance = TIM3;
  htim3.Init.Prescaler = 63;
  htim3.Init.CounterMode = TIM_COUNTERMODE_UP;
  htim3.Init.Period = 999;
  htim3.Init.ClockDivision = TIM_CLOCKDIVISION_DIV1;
  htim3.Init.AutoReloadPreload = TIM_AUTORELOAD_PRELOAD_DISABLE;
  if (HAL_TIM_Base_Init(&htim3) != HAL_OK)
  {
    Error_Handler();
  }
  sClockSourceConfig.ClockSource = TIM_CLOCKSOURCE_INTERNAL;
  if (HAL_TIM_ConfigClockSource(&htim3, &sClockSourceConfig) != HAL_OK)
  {
    Error_Handler();
  }
  if (HAL_TIM_PWM_Init(&htim3) != HAL_OK)
  {
    Error_Handler();
  }
  sMasterConfig.MasterOutputTrigger = TIM_TRGO_RESET;
  sMasterConfig.MasterSlaveMode = TIM_MASTERSLAVEMODE_DISABLE;
  if (HAL_TIMEx_MasterConfigSynchronization(&htim3, &sMasterConfig) != HAL_OK)
  {
    Error_Handler();
  }
  sConfigOC.OCMode = TIM_OCMODE_PWM1;
  sConfigOC.Pulse = 500;
  sConfigOC.OCPolarity = TIM_OCPOLARITY_HIGH;
  sConfigOC.OCFastMode = TIM_OCFAST_DISABLE;
  if (HAL_TIM_PWM_ConfigChannel(&htim3, &sConfigOC, TIM_CHANNEL_4) != HAL_OK)
  {
    Error_Handler();
  }
  HAL_TIM_MspPostInit(&htim3);

}

static void MX_USART2_UART_Init(void)
{

  huart2.Instance = USART2;
  huart2.Init.BaudRate = 115200;
  huart2.Init.WordLength = UART_WORDLENGTH_8B;
  huart2.Init.StopBits = UART_STOPBITS_1;
  huart2.Init.Parity = UART_PARITY_NONE;
  huart2.Init.Mode = UART_MODE_TX_RX;
  huart2.Init.HwFlowCtl = UART_HWCONTROL_NONE;
  huart2.Init.OverSampling = UART_OVERSAMPLING_16;
  if (HAL_UART_Init(&huart2) != HAL_OK)
  {
    Error_Handler();
  }

}

static void MX_GPIO_Init(void)
{
  GPIO_InitTypeDef GPIO_InitStruct = {0};

  /* GPIO Ports Clock Enable */
  __HAL_RCC_GPIOC_CLK_ENABLE();
  __HAL_RCC_GPIOD_CLK_ENABLE();
  __HAL_RCC_GPIOA_CLK_ENABLE();
  __HAL_RCC_GPIOB_CLK_ENABLE();

  /*Configure GPIO pin Output Level */
  HAL_GPIO_WritePin(GPIOC, LED_LEFT_Pin|LED_RIGHT_Pin|TRIG1_Pin, GPIO_PIN_RESET);

  /*Configure GPIO pin Output Level */
  HAL_GPIO_WritePin(GPIOA, LCD_RES_Pin|LCD_DC_Pin|TRIG2_Pin|LBF_Pin
                          |LFB_Pin, GPIO_PIN_RESET);

  /*Configure GPIO pin Output Level */
  HAL_GPIO_WritePin(GPIOB, LBB_Pin|TRIG3_Pin|TRIG4_Pin|LFF_Pin
                          |RBF_Pin|RBB_Pin|LCD_CS_Pin|RFF_Pin
                          |RFB_Pin, GPIO_PIN_RESET);

  /*Configure GPIO pin : B1_Pin */
  GPIO_InitStruct.Pin = B1_Pin;
  GPIO_InitStruct.Mode = GPIO_MODE_IT_RISING;
  GPIO_InitStruct.Pull = GPIO_NOPULL;
  HAL_GPIO_Init(B1_GPIO_Port, &GPIO_InitStruct);

  /*Configure GPIO pin : FLAME_Pin */
  GPIO_InitStruct.Pin = FLAME_Pin;
  GPIO_InitStruct.Mode = GPIO_MODE_IT_FALLING;
  GPIO_InitStruct.Pull = GPIO_PULLUP;
  HAL_GPIO_Init(FLAME_GPIO_Port, &GPIO_InitStruct);

  /*Configure GPIO pins : LED_LEFT_Pin LED_RIGHT_Pin TRIG1_Pin */
  GPIO_InitStruct.Pin = LED_LEFT_Pin|LED_RIGHT_Pin|TRIG1_Pin;
  GPIO_InitStruct.Mode = GPIO_MODE_OUTPUT_PP;
  GPIO_InitStruct.Pull = GPIO_NOPULL;
  GPIO_InitStruct.Speed = GPIO_SPEED_FREQ_LOW;
  HAL_GPIO_Init(GPIOC, &GPIO_InitStruct);

  /*Configure GPIO pins : TEMPER_Pin ECHO2_Pin */
  GPIO_InitStruct.Pin = TEMPER_Pin|ECHO2_Pin;
  GPIO_InitStruct.Mode = GPIO_MODE_INPUT;
  GPIO_InitStruct.Pull = GPIO_NOPULL;
  HAL_GPIO_Init(GPIOA, &GPIO_InitStruct);

  /*Configure GPIO pins : LCD_RES_Pin LCD_DC_Pin TRIG2_Pin LBF_Pin
                           LFB_Pin */
  GPIO_InitStruct.Pin = LCD_RES_Pin|LCD_DC_Pin|TRIG2_Pin|LBF_Pin
                          |LFB_Pin;
  GPIO_InitStruct.Mode = GPIO_MODE_OUTPUT_PP;
  GPIO_InitStruct.Pull = GPIO_NOPULL;
  GPIO_InitStruct.Speed = GPIO_SPEED_FREQ_LOW;
  HAL_GPIO_Init(GPIOA, &GPIO_InitStruct);

  /*Configure GPIO pins : ECHO1_Pin ECHO3_Pin ECHO4_Pin */
  GPIO_InitStruct.Pin = ECHO1_Pin|ECHO3_Pin|ECHO4_Pin;
  GPIO_InitStruct.Mode = GPIO_MODE_INPUT;
  GPIO_InitStruct.Pull = GPIO_NOPULL;
  HAL_GPIO_Init(GPIOB, &GPIO_InitStruct);

  /*Configure GPIO pins : LBB_Pin TRIG3_Pin TRIG4_Pin LFF_Pin
                           RBF_Pin RBB_Pin LCD_CS_Pin RFF_Pin
                           RFB_Pin */
  GPIO_InitStruct.Pin = LBB_Pin|TRIG3_Pin|TRIG4_Pin|LFF_Pin
                          |RBF_Pin|RBB_Pin|LCD_CS_Pin|RFF_Pin
                          |RFB_Pin;
  GPIO_InitStruct.Mode = GPIO_MODE_OUTPUT_PP;
  GPIO_InitStruct.Pull = GPIO_NOPULL;
  GPIO_InitStruct.Speed = GPIO_SPEED_FREQ_LOW;
  HAL_GPIO_Init(GPIOB, &GPIO_InitStruct);

  /*Configure GPIO pin : C6_Pin */
  GPIO_InitStruct.Pin = C6_Pin;
  GPIO_InitStruct.Mode = GPIO_MODE_IT_RISING;
  GPIO_InitStruct.Pull = GPIO_PULLDOWN;
  HAL_GPIO_Init(C6_GPIO_Port, &GPIO_InitStruct);

  /* EXTI interrupt init*/
  HAL_NVIC_SetPriority(EXTI9_5_IRQn, 0, 0);
  HAL_NVIC_EnableIRQ(EXTI9_5_IRQn);

  HAL_NVIC_SetPriority(EXTI15_10_IRQn, 0, 0);
  HAL_NVIC_EnableIRQ(EXTI15_10_IRQn);

}

void Error_Handler(void)
{
  __disable_irq();
  while (1)
  {
  }
}
